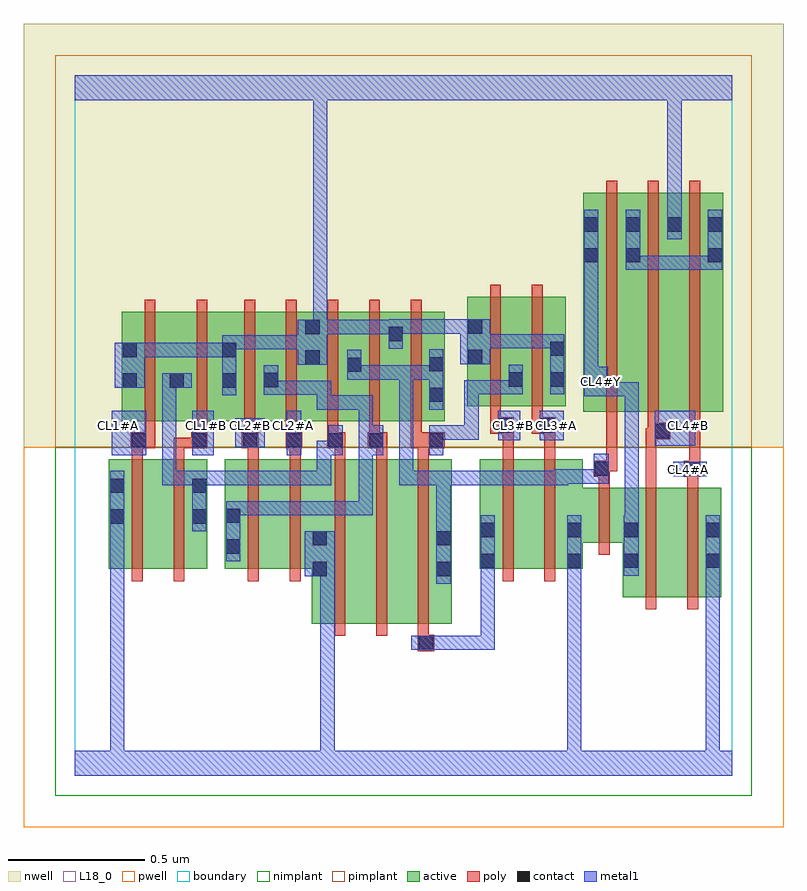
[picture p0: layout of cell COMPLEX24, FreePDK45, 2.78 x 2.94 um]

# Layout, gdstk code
import gdstk
lib = gdstk.Library(unit=1e-6, precision=1e-09)
def R(c, l, rs):  # rectangles x0, y0, x1, y1
    for r in rs: c.add(gdstk.rectangle(r[:2], r[2:], *l))
def A(c, l, x, y, w, h, nx, ny, dx, dy):  # array of equal rectangles
    R(c, l, [(x+i*dx, y+j*dy, x+i*dx+w, y+j*dy+h) for i in range(nx) for j in range(ny)])
active = (1, 0)
pwell = (2, 0)
nwell = (3, 0)
nimplant = (4, 0)
pimplant = (5, 0)
poly = (9, 0)
contact = (10, 0)
metal1 = (11, 0)
L18_0 = (18, 0)
boundary = (235, 0)

complex24 = lib.new_cell('COMPLEX24')
A(complex24, active, 0.534, 1.296, 0.212, 0.4, 4, 1, 0.152, 0)
R(complex24, active, [(0.864,0.556,0.924,1.156), (0.864,0.556,1.044,1.156), (1.044,0.556,1.196,1.156), (1.196,0.556,1.376,1.156), (1.316,0.556,1.376,1.156), (2,0.652,2.06,1.052), (2,0.652,2.18,1.052), (2.18,0.652,2.36,1.052), (2.3,0.652,2.36,1.052), (0.124,0.756,0.184,1.156), (0.124,0.756,0.304,1.156), (0.304,0.756,0.484,1.156), (0.424,0.756,0.484,1.156), (0.548,0.756,0.608,1.156), (0.548,0.756,0.728,1.156), (0.728,0.756,0.924,1.156), (1.478,0.756,1.538,1.156), (1.478,0.756,1.658,1.156), (1.658,0.756,1.854,1.156), (1.794,0.756,1.854,1.034), (1.794,0.852,2.06,1.052), (0.17,1.296,0.23,1.644), (0.17,1.296,0.402,1.696), (0.342,1.296,0.402,1.696), (0.342,1.296,0.594,1.696), (0.534,1.296,0.594,1.696), (1.142,1.296,1.35,1.696), (1.29,1.296,1.35,1.644), (1.856,1.33,1.916,2.044), (1.856,1.33,2.068,2.13), (2.008,1.33,2.068,2.044), (2.008,1.33,2.22,2.13), (2.16,1.33,2.368,2.13), (2.16,1.33,2.22,2.13), (2.308,1.33,2.368,2.044), (1.432,1.35,1.492,1.75), (1.432,1.35,1.64,1.75), (1.58,1.35,1.792,1.75), (1.58,1.35,1.64,1.644), (1.732,1.35,1.792,1.75), (0.686,1.388,0.746,1.696), (0.838,1.472,0.898,1.67), (0.99,1.472,1.05,1.696), (1.142,1.472,1.202,1.696)])
R(complex24, pwell, [(-0.188,-0.188,2.588,1.2)])
R(complex24, nwell, [(-0.188,1.2,2.588,2.748)])
R(complex24, nimplant, [(-0.072,-0.072,2.472,1.2)])
R(complex24, pimplant, [(-0.072,1.2,2.472,2.632)])
A(complex24, poly, 0.948, 0.512, 0.04, 0.688, 3, 1, 0.152, 0)
A(complex24, poly, 0.948, 1.16, 0.04, 0.076, 3, 1, 0.152, 0)
A(complex24, poly, 0.618, 1.216, 0.04, 0.076, 5, 1, 0.152, 0)
A(complex24, poly, 0.618, 1.252, 0.04, 0.488, 5, 1, 0.152, 0)
A(complex24, poly, 1.94, 1.286, 0.04, 0.888, 3, 1, 0.152, 0)
R(complex24, poly, [(1.252,0.456,1.312,0.516), (1.252,0.476,1.292,0.552), (2.084,0.608,2.124,1.096), (2.236,0.608,2.276,1.096), (0.208,0.712,0.248,1.2), (0.36,0.712,0.4,1.2), (0.632,0.712,0.672,1.2), (0.784,0.712,0.824,1.2), (1.562,0.712,1.602,1.2), (1.714,0.712,1.754,1.2), (1.914,0.808,1.954,1.096), (1.914,1.056,1.954,1.132), (2.084,1.056,2.124,1.27), (2.236,1.056,2.276,1.132), (1.894,1.092,1.954,1.152), (2.224,1.092,2.284,1.152), (1.914,1.112,1.954,1.152), (1.914,1.112,1.98,1.152), (1.94,1.112,1.98,1.326), (2.244,1.112,2.284,1.326), (2.244,1.112,2.284,1.152), (2.244,1.112,2.284,1.152), (0.208,1.16,0.248,1.236), (0.36,1.16,0.4,1.236), (0.632,1.16,0.672,1.236), (0.784,1.16,0.824,1.236), (1.562,1.16,1.602,1.29), (1.714,1.16,1.754,1.29), (0.204,1.196,0.294,1.256), (0.208,1.196,0.248,1.236), (0.208,1.196,0.248,1.236), (0.36,1.196,0.464,1.236), (0.424,1.196,0.464,1.236), (0.424,1.196,0.484,1.256), (0.61,1.196,0.67,1.256), (0.63,1.196,0.67,1.236), (0.63,1.196,0.672,1.236), (0.77,1.196,0.83,1.256), (0.784,1.196,0.824,1.236), (0.784,1.196,0.824,1.236), (0.922,1.196,0.988,1.256), (1.07,1.196,1.14,1.256), (1.226,1.196,1.35,1.256), (1.252,1.196,1.292,1.236), (1.252,1.196,1.292,1.236), (0.254,1.216,0.294,1.292), (0.444,1.216,0.484,1.292), (0.922,1.216,0.962,1.256), (0.922,1.216,0.962,1.256), (1.074,1.216,1.114,1.256), (1.074,1.216,1.114,1.256), (2.084,1.23,2.132,1.27), (2.092,1.23,2.132,1.27), (2.092,1.23,2.174,1.29), (1.516,1.25,1.602,1.31), (1.562,1.25,1.602,1.29), (1.562,1.25,1.602,1.29), (1.668,1.25,1.754,1.31), (1.714,1.25,1.754,1.29), (1.714,1.25,1.754,1.29), (2.092,1.25,2.132,1.326), (0.254,1.252,0.294,1.74), (0.444,1.252,0.484,1.74), (1.516,1.27,1.556,1.346), (1.668,1.27,1.708,1.346), (1.516,1.306,1.556,1.794), (1.668,1.306,1.708,1.794)])
A(complex24, contact, 1.86, 1.988, 0.052, 0.052, 3, 1, 0.152, 0)
R(complex24, contact, [(1.256,0.46,1.308,0.512), (0.868,0.73,0.92,0.782), (1.32,0.73,1.372,0.782), (1.482,0.76,1.534,0.812), (1.798,0.76,1.85,0.812), (2.004,0.76,2.056,0.812), (2.304,0.76,2.356,0.812), (0.552,0.812,0.604,0.864), (0.868,0.842,0.92,0.894), (1.32,0.842,1.372,0.894), (1.482,0.872,1.534,0.924), (1.798,0.872,1.85,0.924), (2.004,0.872,2.056,0.924), (2.304,0.872,2.356,0.924), (0.128,0.922,0.18,0.974), (0.428,0.922,0.48,0.974), (0.552,0.924,0.604,0.976), (0.128,1.034,0.18,1.086), (0.428,1.034,0.48,1.086), (1.898,1.096,1.95,1.148), (2.228,1.096,2.28,1.148), (0.208,1.2,0.26,1.252), (0.428,1.2,0.48,1.252), (0.614,1.2,0.666,1.252), (0.774,1.2,0.826,1.252), (0.926,1.2,0.978,1.252), (1.074,1.2,1.126,1.252), (1.294,1.2,1.346,1.252), (2.118,1.234,2.17,1.286), (1.546,1.254,1.598,1.306), (1.698,1.254,1.75,1.306), (1.294,1.366,1.346,1.418), (0.174,1.418,0.226,1.47), (0.346,1.418,0.398,1.47), (0.538,1.418,0.59,1.47), (0.69,1.42,0.742,1.472), (1.584,1.422,1.636,1.474), (1.736,1.422,1.788,1.474), (0.994,1.476,1.046,1.528), (1.294,1.478,1.346,1.53), (0.842,1.502,0.894,1.554), (1.436,1.504,1.488,1.556), (0.174,1.53,0.226,1.582), (0.538,1.53,0.59,1.582), (1.736,1.534,1.788,1.586), (1.146,1.588,1.198,1.64), (0.842,1.614,0.894,1.666), (1.436,1.616,1.488,1.668), (1.86,1.876,1.912,1.928), (2.012,1.876,2.064,1.928), (2.312,1.876,2.364,1.928), (2.312,1.988,2.364,2.04)])
R(complex24, metal1, [(0,0,2.4,0.092), (0.128,0.04,0.18,0.092), (0.128,0.04,0.18,0.092), (0.128,0.04,0.18,0.092), (0.128,0.04,0.18,0.092), (0.128,0.04,0.18,0.092), (0.128,0.04,0.18,0.092), (0.128,0.04,0.18,0.092), (0.128,0.04,0.18,0.092), (0.128,0.04,0.18,0.946), (0.896,0.04,0.948,0.092), (0.896,0.04,0.948,0.092), (0.896,0.04,0.948,0.092), (0.896,0.04,0.948,0.092), (0.896,0.04,0.948,0.782), (1.798,0.04,1.85,0.092), (1.798,0.04,1.85,0.092), (1.798,0.04,1.85,0.092), (1.798,0.04,1.85,0.092), (1.798,0.04,1.85,0.092), (1.798,0.04,1.85,0.092), (1.798,0.04,1.85,0.092), (1.798,0.04,1.85,0.092), (1.798,0.04,1.85,0.092), (1.798,0.04,1.85,0.092), (1.798,0.04,1.85,0.092), (1.798,0.04,1.85,0.092), (1.798,0.04,1.85,0.784), (2.304,0.04,2.356,0.092), (2.304,0.04,2.356,0.092), (2.304,0.04,2.356,0.092), (2.304,0.04,2.356,0.092), (2.304,0.04,2.356,0.092), (2.304,0.04,2.356,0.092), (2.304,0.04,2.356,0.784), (1.228,0.46,1.336,0.512), (1.284,0.46,1.346,0.512), (1.294,0.46,1.346,0.512), (1.294,0.46,1.534,0.512), (1.482,0.46,1.534,0.512), (1.482,0.46,1.534,0.512), (1.482,0.46,1.534,0.512), (1.482,0.46,1.534,0.784), (1.32,0.702,1.372,0.922), (0.84,0.73,0.948,0.894), (0.896,0.73,0.948,0.782), (0.896,0.73,0.948,0.782), (0.896,0.73,0.948,0.782), (0.896,0.73,0.948,0.782), (1.482,0.732,1.534,0.952), (1.482,0.732,1.534,0.784), (1.482,0.732,1.534,0.784), (1.798,0.732,1.85,0.952), (2.004,0.732,2.06,0.952), (2.304,0.732,2.356,0.952), (2.304,0.732,2.356,0.784), (2.304,0.732,2.356,0.784), (2.304,0.732,2.356,0.784), (2.304,0.732,2.356,0.784), (2.304,0.732,2.356,0.784), (2.304,0.732,2.356,0.784), (0.552,0.784,0.604,1.004), (1.32,0.87,1.372,1.114), (0.128,0.894,0.18,1.114), (0.128,0.894,0.18,0.946), (0.128,0.894,0.18,0.946), (0.128,0.894,0.18,0.946), (0.128,0.894,0.18,0.946), (0.428,0.894,0.48,1.114), (2.008,0.9,2.06,0.952), (2.008,0.9,2.06,0.952), (2.008,0.9,2.06,1.438), (0.552,0.952,0.604,1.004), (0.552,0.952,0.604,1.004), (0.552,0.952,0.756,1.004), (0.704,0.952,0.756,1.004), (0.704,0.952,0.756,1.004), (0.704,0.952,0.756,1.004), (0.704,0.952,0.936,1.004), (0.884,0.952,0.936,1.004), (0.884,0.952,0.976,1.004), (0.924,0.952,0.976,1.004), (0.924,0.952,1.088,1.004), (1.036,0.952,1.088,1.004), (1.036,0.952,1.088,1.224), (0.318,1.062,0.37,1.114), (0.318,1.062,0.37,1.114), (0.318,1.062,0.37,1.114), (0.318,1.062,0.48,1.114), (0.318,1.062,0.37,1.47), (0.428,1.062,0.48,1.114), (0.428,1.062,0.48,1.114), (0.428,1.062,0.48,1.114), (0.428,1.062,0.48,1.114), (0.428,1.062,0.616,1.114), (0.564,1.062,0.616,1.114), (0.564,1.062,0.616,1.114), (0.564,1.062,0.616,1.114), (0.564,1.062,0.746,1.114), (0.694,1.062,0.746,1.114), (0.694,1.062,0.746,1.114), (0.694,1.062,0.746,1.114), (0.694,1.062,0.936,1.114), (0.884,1.062,0.936,1.224), (1.184,1.062,1.236,1.114), (1.184,1.062,1.236,1.114), (1.184,1.062,1.236,1.114), (1.184,1.062,1.372,1.114), (1.184,1.062,1.236,1.5), (1.32,1.062,1.372,1.114), (1.32,1.062,1.46,1.114), (1.408,1.062,1.46,1.114), (1.408,1.062,1.626,1.114), (1.574,1.062,1.626,1.114), (1.574,1.062,1.626,1.114), (1.574,1.062,1.626,1.114), (1.574,1.062,1.802,1.114), (1.75,1.062,1.802,1.12), (1.75,1.068,1.802,1.12), (1.75,1.068,1.802,1.12), (1.75,1.068,1.946,1.12), (1.894,1.068,1.946,1.12), (1.894,1.068,1.946,1.12), (1.894,1.068,1.95,1.176), (2.186,1.094,2.308,1.148), (0.134,1.172,0.26,1.334), (0.428,1.172,0.506,1.334), (0.774,1.172,0.826,1.334), (0.884,1.172,0.978,1.224), (0.926,1.172,0.978,1.28), (1.036,1.172,1.088,1.224), (1.036,1.172,1.088,1.39), (1.036,1.172,1.126,1.224), (1.074,1.172,1.126,1.28), (1.294,1.172,1.346,1.28), (0.586,1.2,0.694,1.306), (2.118,1.206,2.266,1.334), (1.546,1.226,1.626,1.334), (1.698,1.226,1.786,1.334), (1.294,1.228,1.346,1.28), (1.294,1.228,1.346,1.28), (1.294,1.228,1.474,1.28), (1.422,1.228,1.474,1.28), (1.422,1.228,1.474,1.446), (0.884,1.338,0.936,1.39), (0.884,1.338,0.976,1.39), (0.884,1.338,0.936,1.444), (0.924,1.338,0.976,1.39), (0.924,1.338,1.088,1.39), (1.036,1.338,1.088,1.39), (1.294,1.338,1.346,1.558), (1.86,1.386,1.946,1.494), (1.894,1.386,1.946,1.438), (1.894,1.386,1.946,1.438), (1.894,1.386,2.06,1.438), (2.008,1.386,2.06,1.438), (0.538,1.39,0.59,1.61), (0.69,1.392,0.742,1.444), (0.69,1.392,0.742,1.444), (0.69,1.392,0.742,1.5), (0.69,1.392,0.936,1.444), (0.884,1.392,0.936,1.444), (1.422,1.394,1.474,1.446), (1.422,1.394,1.556,1.446), (1.504,1.394,1.556,1.446), (1.504,1.394,1.636,1.446), (1.584,1.394,1.636,1.502), (1.736,1.394,1.788,1.614), (0.146,1.418,0.254,1.582), (0.318,1.418,0.426,1.47), (1.86,1.442,1.912,1.9), (0.994,1.448,1.046,1.556), (0.994,1.448,1.126,1.5), (1.074,1.448,1.126,1.5), (1.074,1.448,1.236,1.5), (1.184,1.448,1.236,1.5), (1.184,1.448,1.236,1.5), (1.184,1.448,1.236,1.5), (1.184,1.448,1.346,1.5), (1.294,1.448,1.346,1.5), (1.294,1.448,1.346,1.5), (0.814,1.502,0.922,1.666), (1.408,1.504,1.516,1.668), (0.202,1.53,0.254,1.582), (0.202,1.53,0.254,1.582), (0.202,1.53,0.364,1.582), (0.312,1.53,0.364,1.582), (0.312,1.53,0.48,1.582), (0.428,1.53,0.48,1.582), (0.428,1.53,0.48,1.582), (0.428,1.53,0.48,1.582), (0.428,1.53,0.59,1.582), (0.538,1.558,0.59,1.61), (0.538,1.558,0.59,1.61), (0.538,1.558,0.726,1.61), (0.674,1.558,0.726,1.61), (0.674,1.558,0.866,1.61), (0.814,1.558,0.866,1.61), (0.814,1.558,0.866,1.61), (1.146,1.56,1.198,1.668), (1.464,1.562,1.526,1.614), (1.474,1.562,1.526,1.614), (1.474,1.562,1.63,1.614), (1.578,1.562,1.63,1.614), (1.578,1.562,1.788,1.614), (1.736,1.562,1.788,1.614), (1.736,1.562,1.788,1.614), (0.87,1.614,0.976,1.666), (0.87,1.614,0.922,2.52), (0.924,1.614,0.976,1.666), (0.924,1.614,1.088,1.666), (1.036,1.614,1.088,1.666), (1.036,1.614,1.088,1.666), (1.036,1.614,1.088,1.666), (1.036,1.614,1.198,1.666), (1.146,1.616,1.35,1.668), (1.298,1.616,1.35,1.668), (1.298,1.616,1.35,1.668), (1.298,1.616,1.35,1.668), (1.298,1.616,1.46,1.668), (1.86,1.848,1.912,2.068), (2.012,1.848,2.064,2.068), (2.012,1.848,2.064,1.9), (2.012,1.848,2.064,1.9), (2.012,1.848,2.246,1.9), (2.194,1.848,2.364,1.9), (2.194,1.848,2.246,1.9), (2.194,1.848,2.246,1.9), (2.194,1.848,2.246,1.9), (2.312,1.848,2.364,2.068), (2.164,1.96,2.216,2.068), (2.164,2.016,2.216,2.068), (2.164,2.016,2.216,2.068), (2.164,2.016,2.216,2.068), (2.164,2.016,2.216,2.068), (2.164,2.016,2.216,2.52), (0,2.468,2.4,2.56), (0.87,2.468,0.922,2.52), (0.87,2.468,0.922,2.52), (0.87,2.468,0.922,2.52), (0.87,2.468,0.922,2.52), (0.87,2.468,0.922,2.52), (0.87,2.468,0.922,2.52), (0.87,2.468,0.922,2.52), (0.87,2.468,0.922,2.52), (0.87,2.468,0.922,2.52), (0.87,2.468,0.922,2.52), (0.87,2.468,0.922,2.52), (0.87,2.468,0.922,2.52), (0.87,2.468,0.922,2.52), (0.87,2.468,0.922,2.52), (0.87,2.468,0.922,2.52), (0.87,2.468,0.922,2.52), (2.164,2.468,2.216,2.52), (2.164,2.468,2.216,2.52), (2.164,2.468,2.216,2.52), (2.164,2.468,2.216,2.52)])
A(complex24, L18_0, 0.454, 1.254, 0.052, 0.052, 3, 1, 0.16, 0)
R(complex24, L18_0, [(0,0,2.4,0.092), (0.128,0.04,0.18,0.092), (0.128,0.04,0.18,0.092), (0.128,0.04,0.18,0.092), (0.128,0.04,0.18,0.092), (0.128,0.04,0.18,0.092), (0.128,0.04,0.18,0.092), (0.128,0.04,0.18,0.092), (0.128,0.04,0.18,0.092), (0.128,0.04,0.18,0.946), (0.896,0.04,0.948,0.092), (0.896,0.04,0.948,0.092), (0.896,0.04,0.948,0.092), (0.896,0.04,0.948,0.092), (0.896,0.04,0.948,0.782), (1.798,0.04,1.85,0.092), (1.798,0.04,1.85,0.092), (1.798,0.04,1.85,0.092), (1.798,0.04,1.85,0.092), (1.798,0.04,1.85,0.092), (1.798,0.04,1.85,0.092), (1.798,0.04,1.85,0.092), (1.798,0.04,1.85,0.092), (1.798,0.04,1.85,0.092), (1.798,0.04,1.85,0.092), (1.798,0.04,1.85,0.092), (1.798,0.04,1.85,0.092), (1.798,0.04,1.85,0.784), (2.304,0.04,2.356,0.092), (2.304,0.04,2.356,0.092), (2.304,0.04,2.356,0.092), (2.304,0.04,2.356,0.092), (2.304,0.04,2.356,0.092), (2.304,0.04,2.356,0.092), (2.304,0.04,2.356,0.784), (0.84,0.73,0.948,0.894), (0.896,0.73,0.948,0.782), (0.896,0.73,0.948,0.782), (0.896,0.73,0.948,0.782), (0.896,0.73,0.948,0.782), (1.798,0.732,1.85,0.952), (2.004,0.732,2.06,0.952), (2.304,0.732,2.356,0.784), (2.304,0.732,2.356,0.784), (2.304,0.732,2.356,0.784), (2.304,0.732,2.356,0.784), (2.304,0.732,2.356,0.784), (2.304,0.732,2.356,0.784), (2.304,0.732,2.356,0.952), (0.128,0.894,0.18,0.946), (0.128,0.894,0.18,0.946), (0.128,0.894,0.18,0.946), (0.128,0.894,0.18,0.946), (0.128,0.894,0.18,1.114), (2.008,0.9,2.06,0.952), (2.008,0.9,2.06,0.952), (2.008,0.9,2.06,1.438), (2.186,1.094,2.308,1.148), (2.214,1.094,2.266,1.146), (0.134,1.172,0.26,1.334), (0.428,1.172,0.506,1.334), (0.774,1.172,0.826,1.334), (0.586,1.2,0.694,1.306), (2.118,1.206,2.266,1.334), (1.546,1.226,1.626,1.334), (1.698,1.226,1.786,1.334), (0.134,1.254,0.186,1.306), (1.574,1.254,1.626,1.306), (1.734,1.254,1.786,1.306), (2.214,1.254,2.266,1.306), (1.86,1.386,1.946,1.494), (1.894,1.386,1.946,1.438), (1.894,1.386,1.946,1.438), (1.894,1.386,2.06,1.438), (2.008,1.386,2.06,1.438), (0.538,1.39,0.59,1.61), (1.736,1.394,1.788,1.614), (1.894,1.414,1.946,1.466), (0.146,1.418,0.254,1.582), (1.86,1.442,1.912,1.9), (0.814,1.502,0.922,1.666), (1.408,1.504,1.516,1.668), (0.202,1.53,0.254,1.582), (0.202,1.53,0.254,1.582), (0.202,1.53,0.364,1.582), (0.312,1.53,0.364,1.582), (0.312,1.53,0.48,1.582), (0.428,1.53,0.48,1.582), (0.428,1.53,0.48,1.582), (0.428,1.53,0.48,1.582), (0.428,1.53,0.59,1.582), (0.538,1.558,0.59,1.61), (0.538,1.558,0.59,1.61), (0.538,1.558,0.726,1.61), (0.674,1.558,0.726,1.61), (0.674,1.558,0.866,1.61), (0.814,1.558,0.866,1.61), (0.814,1.558,0.866,1.61), (1.146,1.56,1.198,1.668), (1.464,1.562,1.526,1.614), (1.474,1.562,1.526,1.614), (1.474,1.562,1.63,1.614), (1.578,1.562,1.63,1.614), (1.578,1.562,1.788,1.614), (1.736,1.562,1.788,1.614), (1.736,1.562,1.788,1.614), (0.87,1.614,0.922,2.52), (0.87,1.614,0.976,1.666), (0.924,1.614,0.976,1.666), (0.924,1.614,1.088,1.666), (1.036,1.614,1.088,1.666), (1.036,1.614,1.088,1.666), (1.036,1.614,1.088,1.666), (1.036,1.614,1.198,1.666), (1.146,1.616,1.35,1.668), (1.298,1.616,1.35,1.668), (1.298,1.616,1.35,1.668), (1.298,1.616,1.35,1.668), (1.298,1.616,1.46,1.668), (1.86,1.848,1.912,2.068), (2.164,1.96,2.216,2.068), (2.164,2.016,2.216,2.068), (2.164,2.016,2.216,2.068), (2.164,2.016,2.216,2.068), (2.164,2.016,2.216,2.068), (2.164,2.016,2.216,2.52), (0,2.468,2.4,2.56), (0.87,2.468,0.922,2.52), (0.87,2.468,0.922,2.52), (0.87,2.468,0.922,2.52), (0.87,2.468,0.922,2.52), (0.87,2.468,0.922,2.52), (0.87,2.468,0.922,2.52), (0.87,2.468,0.922,2.52), (0.87,2.468,0.922,2.52), (0.87,2.468,0.922,2.52), (0.87,2.468,0.922,2.52), (0.87,2.468,0.922,2.52), (0.87,2.468,0.922,2.52), (0.87,2.468,0.922,2.52), (0.87,2.468,0.922,2.52), (0.87,2.468,0.922,2.52), (0.87,2.468,0.922,2.52), (2.164,2.468,2.216,2.52), (2.164,2.468,2.216,2.52), (2.164,2.468,2.216,2.52), (2.164,2.468,2.216,2.52)])
R(complex24, boundary, [(0,0,2.4,2.56)])
complex24.add(gdstk.Label('CL1#A', (0.16,1.28), layer=11, texttype=0))
complex24.add(gdstk.Label('CL1#B', (0.48,1.28), layer=11, texttype=0))
complex24.add(gdstk.Label('CL2#A', (0.8,1.28), layer=11, texttype=0))
complex24.add(gdstk.Label('CL2#B', (0.64,1.28), layer=11, texttype=0))
complex24.add(gdstk.Label('CL3#A', (1.76,1.28), layer=11, texttype=0))
complex24.add(gdstk.Label('CL3#B', (1.6,1.28), layer=11, texttype=0))
complex24.add(gdstk.Label('CL4#A', (2.24,1.12), layer=11, texttype=0))
complex24.add(gdstk.Label('CL4#B', (2.24,1.28), layer=11, texttype=0))
complex24.add(gdstk.Label('CL4#Y', (1.92,1.44), layer=11, texttype=0))

lib.write_gds('COMPLEX24.gds')
